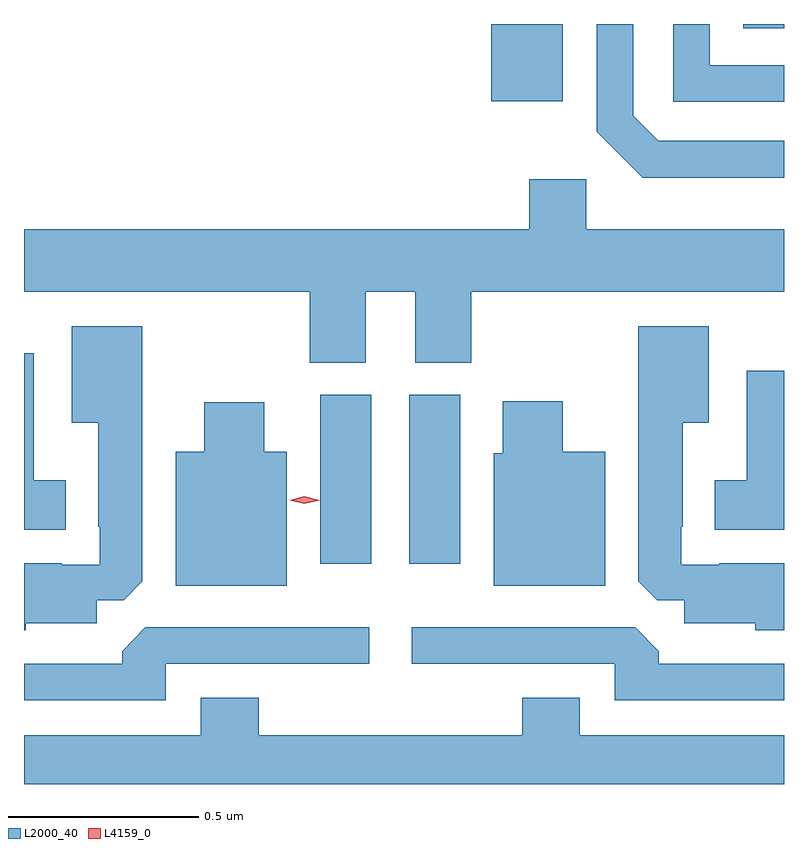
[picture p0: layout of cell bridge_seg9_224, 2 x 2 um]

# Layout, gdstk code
import gdstk
lib = gdstk.Library(unit=1e-6, precision=1e-09)
def R(c, l, rs):  # rectangles x0, y0, x1, y1
    for r in rs: c.add(gdstk.rectangle(r[:2], r[2:], *l))
def P(c, l, *ps):  # polygons
    for p in ps: c.add(gdstk.Polygon(p, *l))
L2000_40 = (2000, 40)
L4159_0 = (4159, 0)

bridge_seg9_224 = lib.new_cell('bridge_seg9_224')
R(bridge_seg9_224, L2000_40, [(150.476,1222.344,150.61,1222.788), (150.71,1222.344,150.844,1222.788), (150.926,1223.561,151.114,1223.764), (151.589,1223.753,151.696,1223.764)])
P(bridge_seg9_224, L2000_40, [(151.696,1223.655),(151.5,1223.655),(151.5,1223.764),(151.404,1223.764),(151.404,1223.559),(151.696,1223.559)],
  [(151.696,1223.457),(151.365,1223.457),(151.299,1223.523),(151.299,1223.764),(151.203,1223.764),(151.203,1223.481),(151.324,1223.36),(151.696,1223.36)],
  [(150.595,1223.06),(150.725,1223.06),(150.725,1222.873),(150.873,1222.873),(150.873,1223.06),(151.696,1223.06),(151.696,1223.224),(151.176,1223.224),(151.176,1223.356),(151.025,1223.356),(151.025,1223.224),(149.696,1223.224),(149.696,1223.06),(150.448,1223.06),(150.448,1222.873),(150.595,1222.873)],
  [(151.696,1222.345),(151.525,1222.345),(151.525,1222.341),(151.425,1222.341),(151.425,1222.441),(151.429,1222.441),(151.429,1222.715),(151.498,1222.715),(151.498,1222.969),(151.313,1222.969),(151.313,1222.297),(151.362,1222.248),(151.433,1222.248),(151.433,1222.187),(151.62,1222.187),(151.62,1222.169),(151.696,1222.169)],
  [(149.7,1222.187),(149.887,1222.187),(149.887,1222.248),(149.958,1222.248),(150.007,1222.297),(150.007,1222.969),(149.822,1222.969),(149.822,1222.715),(149.891,1222.715),(149.891,1222.441),(149.895,1222.441),(149.895,1222.341),(149.795,1222.341),(149.795,1222.345),(149.696,1222.345),(149.696,1222.169),(149.7,1222.169)],
  [(149.806,1222.564),(149.722,1222.564),(149.722,1222.897),(149.696,1222.897),(149.696,1222.433),(149.806,1222.433)],
  [(151.696,1222.852),(151.598,1222.852),(151.598,1222.564),(151.514,1222.564),(151.514,1222.433),(151.696,1222.433)],
  [(151.225,1222.639),(151.114,1222.639),(151.114,1222.771),(150.956,1222.771),(150.956,1222.635),(150.932,1222.635),(150.932,1222.286),(151.225,1222.286)],
  [(150.388,1222.639),(150.328,1222.639),(150.328,1222.768),(150.17,1222.768),(150.17,1222.639),(150.095,1222.639),(150.095,1222.286),(150.388,1222.286)],
  [(151.696,1222.08),(151.367,1222.08),(151.367,1222.114),(151.305,1222.176),(150.717,1222.176),(150.717,1222.08),(151.251,1222.08),(151.251,1221.984),(151.696,1221.984)],
  [(150.069,1222.08),(150.604,1222.08),(150.604,1222.176),(150.015,1222.176),(149.954,1222.114),(149.954,1222.08),(149.696,1222.08),(149.696,1221.984),(150.069,1221.984)],
  [(151.696,1221.892),(151.159,1221.892),(151.159,1221.991),(151.007,1221.991),(151.007,1221.892),(150.314,1221.892),(150.314,1221.991),(150.161,1221.991),(150.161,1221.892),(149.696,1221.892),(149.696,1221.764),(151.696,1221.764)])
P(bridge_seg9_224, L4159_0, [(150.434,1222.501),(150.395,1222.511),(150.395,1222.511),(150.395,1222.511),(150.434,1222.521),(150.474,1222.511),(150.474,1222.511),(150.474,1222.511)])

lib.write_gds('bridge_seg9_224.gds')
